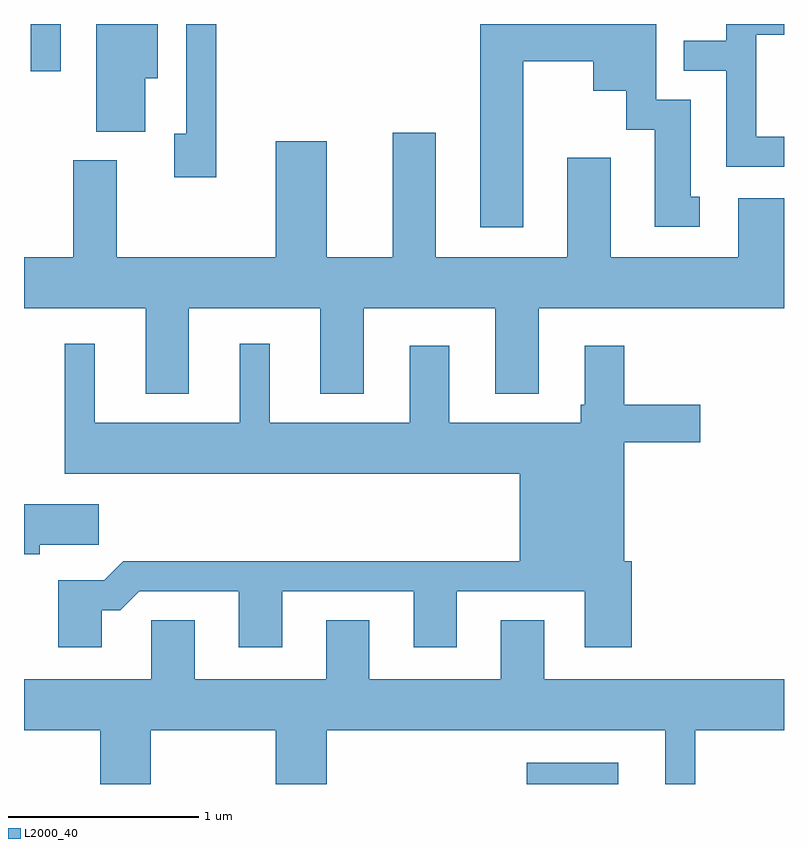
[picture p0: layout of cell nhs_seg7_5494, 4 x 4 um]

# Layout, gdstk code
import gdstk
lib = gdstk.Library(unit=1e-6, precision=1e-09)
def R(c, l, rs):  # rectangles x0, y0, x1, y1
    for r in rs: c.add(gdstk.rectangle(r[:2], r[2:], *l))
def P(c, l, *ps):  # polygons
    for p in ps: c.add(gdstk.Polygon(p, *l))
L2000_40 = (2000, 40)

nhs_seg7_5494 = lib.new_cell('nhs_seg7_5494')
R(nhs_seg7_5494, L2000_40, [(356.256,1716.252,356.739,1716.364), (353.646,1720.003,353.804,1720.252)])
P(nhs_seg7_5494, L2000_40, [(354.624,1720.252),(354.466,1720.252),(354.466,1719.674),(354.401,1719.674),(354.401,1719.446),(354.624,1719.446)],
  [(354.249,1719.966),(354.314,1719.966),(354.314,1720.252),(353.991,1720.252),(353.991,1719.686),(354.249,1719.686)],
  [(357.611,1719.659),(357.464,1719.659),(357.464,1720.196),(357.611,1720.196),(357.611,1720.252),(357.306,1720.252),(357.306,1720.164),(357.083,1720.164),(357.083,1720.006),(357.306,1720.006),(357.306,1719.501),(357.611,1719.501)],
  [(356.239,1720.056),(356.606,1720.056),(356.606,1719.901),(356.781,1719.901),(356.781,1719.696),(356.931,1719.696),(356.931,1719.186),(357.168,1719.186),(357.168,1719.344),(357.119,1719.344),(357.119,1719.854),(356.939,1719.854),(356.939,1720.252),(356.011,1720.252),(356.011,1719.181),(356.239,1719.181)],
  [(354.479,1718.756),(355.171,1718.756),(355.171,1718.306),(355.399,1718.306),(355.399,1718.756),(356.091,1718.756),(356.091,1718.306),(356.319,1718.306),(356.319,1718.756),(357.611,1718.756),(357.611,1719.334),(357.371,1719.334),(357.371,1719.024),(356.699,1719.024),(356.699,1719.549),(356.471,1719.549),(356.471,1719.024),(355.779,1719.024),(355.779,1719.679),(355.551,1719.679),(355.551,1719.024),(355.204,1719.024),(355.204,1719.634),(354.936,1719.634),(354.936,1719.024),(354.099,1719.024),(354.099,1719.534),(353.871,1719.534),(353.871,1719.024),(353.611,1719.024),(353.611,1718.756),(354.251,1718.756),(354.251,1718.306),(354.479,1718.306)],
  [(354.019,1717.166),(354.117,1717.166),(354.217,1717.266),(354.741,1717.266),(354.741,1716.971),(354.969,1716.971),(354.969,1717.266),(355.661,1717.266),(355.661,1716.971),(355.889,1716.971),(355.889,1717.266),(356.561,1717.266),(356.561,1716.971),(356.809,1716.971),(356.809,1717.424),(356.769,1717.424),(356.769,1718.051),(357.169,1718.051),(357.169,1718.249),(356.769,1718.249),(356.769,1718.559),(356.561,1718.559),(356.561,1718.249),(356.541,1718.249),(356.541,1718.154),(355.849,1718.154),(355.849,1718.559),(355.641,1718.559),(355.641,1718.154),(354.904,1718.154),(354.904,1718.568),(354.746,1718.568),(354.746,1718.154),(353.984,1718.154),(353.984,1718.568),(353.826,1718.568),(353.826,1717.886),(356.221,1717.886),(356.221,1717.424),(354.134,1717.424),(354.034,1717.324),(353.791,1717.324),(353.791,1716.971),(354.019,1716.971)],
  [(353.694,1717.511),(354.004,1717.511),(354.004,1717.724),(353.611,1717.724),(353.611,1717.461),(353.694,1717.461)],
  [(354.279,1716.536),(354.936,1716.536),(354.936,1716.252),(355.204,1716.252),(355.204,1716.536),(356.986,1716.536),(356.986,1716.252),(357.144,1716.252),(357.144,1716.536),(357.611,1716.536),(357.611,1716.804),(356.349,1716.804),(356.349,1717.114),(356.121,1717.114),(356.121,1716.804),(355.429,1716.804),(355.429,1717.114),(355.201,1717.114),(355.201,1716.804),(354.509,1716.804),(354.509,1717.114),(354.281,1717.114),(354.281,1716.804),(353.611,1716.804),(353.611,1716.536),(354.011,1716.536),(354.011,1716.252),(354.279,1716.252)])

lib.write_gds('nhs_seg7_5494.gds')
